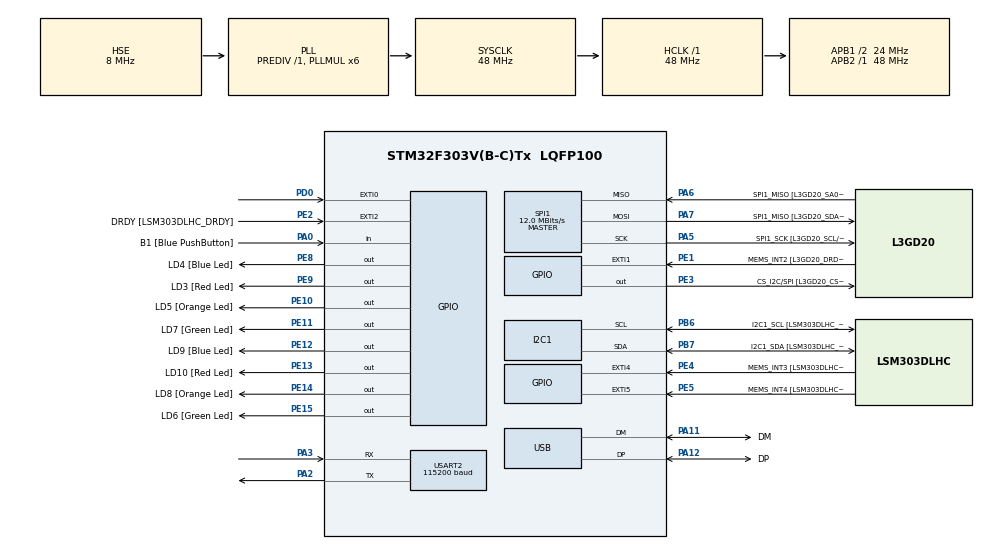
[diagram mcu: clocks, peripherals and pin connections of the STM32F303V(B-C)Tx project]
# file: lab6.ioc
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I2C1.Timing=0x00201D2B
I2C1.Timing-I2C=0x2000090E
Mcu.Family=STM32F3
Mcu.Name=STM32F303V(B-C)Tx
Mcu.Package=LQFP100
NVIC.PriorityGroup=NVIC_PRIORITYGROUP_0
NVIC.TIM2_IRQn=true\:0\:0\:false\:false\:true\:true\:true\:true
PA0.GPIO_Label=B1 [Blue PushButton]
PA0.Signal=GPIO_Input
PA11.GPIO_Label=DM
PA11.Mode=Device
PA11.Signal=USB_DM
PA12.GPIO_Label=DP
PA12.Mode=Device
PA12.Signal=USB_DP
PA13.GPIO_Label=SWDIO
PA13.Mode=Serial_Wire
PA13.Signal=SYS_JTMS-SWDIO
PA14.GPIO_Label=SWCLK
PA14.Mode=Serial_Wire
PA14.Signal=SYS_JTCK-SWCLK
PA2.Mode=Asynchronous
PA2.Signal=USART2_TX
PA3.Mode=Asynchronous
PA3.Signal=USART2_RX
PA5.GPIO_Label=SPI1_SCK [L3GD20_SCL/SPC]
PA5.Mode=Full_Duplex_Master
PA5.Signal=SPI1_SCK
PA6.GPIO_Label=SPI1_MISO [L3GD20_SA0/SDO]
PA6.Mode=Full_Duplex_Master
PA6.Signal=SPI1_MISO
PA7.GPIO_Label=SPI1_MISO [L3GD20_SDA/SDI/SDO]
PA7.Mode=Full_Duplex_Master
PA7.Signal=SPI1_MOSI
PB3.GPIO_Label=SWO
PB3.Signal=SYS_JTDO-TRACESWO
PB6.GPIO_Label=I2C1_SCL [LSM303DLHC_SCL]
PB6.GPIO_Pu=GPIO_PULLUP
PB6.Mode=I2C
PB6.Signal=I2C1_SCL
PB7.GPIO_Label=I2C1_SDA [LSM303DLHC_SDA]
PB7.GPIO_Pu=GPIO_PULLUP
PB7.Mode=I2C
PB7.Signal=I2C1_SDA
PC14-OSC32_IN.GPIO_Label=OSC32_IN
PC14-OSC32_IN.Signal=RCC_OSC32_IN
PC15-OSC32_OUT.GPIO_Label=OSC32_OUT
PC15-OSC32_OUT.Signal=RCC_OSC32_OUT
PD0.Signal=GPXTI0
PE1.GPIO_Label=MEMS_INT2 [L3GD20_DRDY/INT2]
PE1.GPIO_ModeDefaultEXTI=GPIO_MODE_EVT_RISING
PE1.Signal=GPXTI1
PE10.GPIO_Label=LD5 [Orange Led]
PE10.Signal=GPIO_Output
PE11.GPIO_Label=LD7 [Green Led]
PE11.Signal=GPIO_Output
PE12.GPIO_Label=LD9 [Blue Led]
PE12.Signal=GPIO_Output
PE13.GPIO_Label=LD10 [Red Led]
PE13.Signal=GPIO_Output
PE14.GPIO_Label=LD8 [Orange Led]
PE14.Signal=GPIO_Output
PE15.GPIO_Label=LD6 [Green Led]
PE15.Signal=GPIO_Output
PE2.GPIO_Label=DRDY [LSM303DLHC_DRDY]
PE2.GPIO_ModeDefaultEXTI=GPIO_MODE_EVT_RISING
PE2.Signal=GPXTI2
PE3.GPIO_Label=CS_I2C/SPI [L3GD20_CS_I2C/SPI]
PE3.Signal=GPIO_Output
PE4.GPIO_Label=MEMS_INT3 [LSM303DLHC_INT1]
PE4.GPIO_ModeDefaultEXTI=GPIO_MODE_EVT_RISING
PE4.Signal=GPXTI4
PE5.GPIO_Label=MEMS_INT4 [LSM303DLHC_INT2]
PE5.GPIO_ModeDefaultEXTI=GPIO_MODE_EVT_RISING
PE5.Signal=GPXTI5
PE8.GPIO_Label=LD4 [Blue Led]
PE8.Signal=GPIO_Output
PE9.GPIO_Label=LD3 [Red Led]
PE9.Signal=GPIO_Output
PF0-OSC_IN.GPIO_Label=OSC_IN
PF0-OSC_IN.Mode=HSE-External-Clock-Source
PF0-OSC_IN.Signal=RCC_OSC_IN
PF1-OSC_OUT.GPIO_Label=OSC_OUT
PF1-OSC_OUT.Signal=RCC_OSC_OUT
ProjectManager.HeapSize=0x200
ProjectManager.StackSize=0x400
ProjectManager.TargetToolchain=CMake
RCC.AHBFreq_Value=48000000
RCC.APB1CLKDivider=RCC_HCLK_DIV2
RCC.APB1Freq_Value=24000000
RCC.APB1TimFreq_Value=48000000
RCC.APB2Freq_Value=48000000
RCC.APB2TimFreq_Value=48000000
RCC.CortexFreq_Value=48000000
RCC.HCLKFreq_Value=48000000
RCC.HSE_VALUE=8000000
RCC.HSI_VALUE=8000000
RCC.LSE_VALUE=32768
RCC.PLLMUL=RCC_PLL_MUL6
RCC.SYSCLKFreq_VALUE=48000000
RCC.SYSCLKSourceVirtual=RCC_SYSCLKSOURCE_PLLCLK
RCC.USBFreq_Value=48000000
SPI1.BaudRatePrescaler=SPI_BAUDRATEPRESCALER_4
SPI1.BaudRatePrescaler-Full_Duplex_Master=SPI_BAUDRATEPRESCALER_2
SPI1.CalculateBaudRate=12.0 MBits/s
SPI1.CalculateBaudRate-Full_Duplex_Master=24.0 MBits/s
SPI1.Direction=SPI_DIRECTION_2LINES
SPI1.Mode=SPI_MODE_MASTER
SPI1.Mode-Full_Duplex_Master=SPI_MODE_MASTER
SPI1.VirtualType=VM_MASTER
TIM2.AutoReloadPreload=TIM_AUTORELOAD_PRELOAD_DISABLE
TIM2.Prescaler=9
TIM2.TIM_MasterOutputTrigger=TIM_TRGO_RESET
TIM2.TIM_MasterSlaveMode=TIM_MASTERSLAVEMODE_DISABLE
USART2.BaudRate=115200
USART2.VirtualMode-Asynchronous=VM_ASYNC
VP_TIM2_VS_ClockSourceINT.Mode=Internal
board=STM32F3DISCOVERY

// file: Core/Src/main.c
/* USER CODE BEGIN Header */
/**
  ******************************************************************************
  * @file           : main.c
  * @brief          : Main program body
  ******************************************************************************
  * @attention
  *
  * Copyright (c) 2026 STMicroelectronics.
  * All rights reserved.
  *
  * This software is licensed under terms that can be found in the LICENSE file
  * in the root directory of this software component.
  * If no LICENSE file comes with this software, it is provided AS-IS.
  *
  ******************************************************************************
  */
/* USER CODE END Header */
#include "main.h"
#include <stdarg.h>

I2C_HandleTypeDef hi2c1;

SPI_HandleTypeDef hspi1;

TIM_HandleTypeDef htim2;

UART_HandleTypeDef huart2;

PCD_HandleTypeDef hpcd_USB_FS;

void SystemClock_Config(void);
static void MX_GPIO_Init(void);
static void MX_I2C1_Init(void);
static void MX_SPI1_Init(void);
static void MX_TIM2_Init(void);
static void MX_USART2_UART_Init(void);
static void MX_USB_PCD_Init(void);

/* USER CODE BEGIN 0 */
#include <stdio.h>
void myPrintf (const char *fmt , ...){
      char buffer[256];
      va_list args;
      va_start (args, fmt);
      int len = vsnprintf (buffer, sizeof(buffer), fmt, args);
      va_end (args);
      HAL_UART_Transmit(&huart2, (uint8_t*)buffer, len, HAL_MAX_DELAY);
  }

#define SAMPLE_SIZE 10

volatile uint32_t period_samples[SAMPLE_SIZE];
volatile uint8_t sample_index = 0;
volatile uint8_t capture_state = 0;
volatile uint8_t print_flag = 0;

/* EXTI Callback */
void HAL_GPIO_EXTI_Callback(uint16_t GPIO_Pin)
{
    if(GPIO_Pin == GPIO_PIN_0)   // PD0
    {
        if(capture_state == 0)
        {
            __HAL_TIM_SET_COUNTER(&htim2, 0);
            HAL_TIM_Base_Start(&htim2);
            capture_state = 1;
        }
        else
        {
            period_samples[sample_index++] =
                __HAL_TIM_GET_COUNTER(&htim2);

            HAL_TIM_Base_Stop(&htim2);
            capture_state = 0;

            if(sample_index >= SAMPLE_SIZE)
            {
                sample_index = 0;
                print_flag = 1;
            }
        }
    }
}
/* USER CODE END 0 */

int main(void)
{

  /* MCU Configuration--------------------------------------------------------*/

  /* Reset of all peripherals, Initializes the Flash interface and the Systick. */
  HAL_Init();

  /* Configure the system clock */
  SystemClock_Config();

  /* Initialize all configured peripherals */
  MX_GPIO_Init();
  MX_I2C1_Init();
  MX_SPI1_Init();
  MX_TIM2_Init();
  MX_USART2_UART_Init();
  MX_USB_PCD_Init();
HAL_TIM_Base_Start(&htim2);  // Put this in main(), after MX_TIM2_Init()
  /* Infinite loop */
  /* USER CODE BEGIN WHILE */
  while (1)
{
    HAL_Delay(100);

    if(print_flag)
    {
        uint64_t sum = 0;

        for(int i = 0; i < SAMPLE_SIZE; i++)
        {
            sum += period_samples[i];
        }

        float avg_period = (float)sum / SAMPLE_SIZE;

        /*
         Timer frequency:
         48 MHz / (9+1) = 4.8 MHz
        */

        float frequency = (4.8e6) / avg_period;

        float error = (4.8e6 / (avg_period - 1)) - frequency;

        myPrintf("Frequency: %.2f Hz ± %.2f Hz\r\n",
               frequency, error);

        print_flag = 0;
    }
}

  /* USER CODE END 3 */
}

void SystemClock_Config(void)
{
  RCC_OscInitTypeDef RCC_OscInitStruct = {0};
  RCC_ClkInitTypeDef RCC_ClkInitStruct = {0};
  RCC_PeriphCLKInitTypeDef PeriphClkInit = {0};

  /** Initializes the RCC Oscillators according to the specified parameters
  * in the RCC_OscInitTypeDef structure.
  */
  RCC_OscInitStruct.OscillatorType = RCC_OSCILLATORTYPE_HSI|RCC_OSCILLATORTYPE_HSE;
  RCC_OscInitStruct.HSEState = RCC_HSE_BYPASS;
  RCC_OscInitStruct.HSEPredivValue = RCC_HSE_PREDIV_DIV1;
  RCC_OscInitStruct.HSIState = RCC_HSI_ON;
  RCC_OscInitStruct.HSICalibrationValue = RCC_HSICALIBRATION_DEFAULT;
  RCC_OscInitStruct.PLL.PLLState = RCC_PLL_ON;
  RCC_OscInitStruct.PLL.PLLSource = RCC_PLLSOURCE_HSE;
  RCC_OscInitStruct.PLL.PLLMUL = RCC_PLL_MUL6;
  if (HAL_RCC_OscConfig(&RCC_OscInitStruct) != HAL_OK)
  {
    Error_Handler();
  }

  /** Initializes the CPU, AHB and APB buses clocks
  */
  RCC_ClkInitStruct.ClockType = RCC_CLOCKTYPE_HCLK|RCC_CLOCKTYPE_SYSCLK
                              |RCC_CLOCKTYPE_PCLK1|RCC_CLOCKTYPE_PCLK2;
  RCC_ClkInitStruct.SYSCLKSource = RCC_SYSCLKSOURCE_PLLCLK;
  RCC_ClkInitStruct.AHBCLKDivider = RCC_SYSCLK_DIV1;
  RCC_ClkInitStruct.APB1CLKDivider = RCC_HCLK_DIV2;
  RCC_ClkInitStruct.APB2CLKDivider = RCC_HCLK_DIV1;

  if (HAL_RCC_ClockConfig(&RCC_ClkInitStruct, FLASH_LATENCY_1) != HAL_OK)
  {
    Error_Handler();
  }
  PeriphClkInit.PeriphClockSelection = RCC_PERIPHCLK_USB|RCC_PERIPHCLK_USART2
                              |RCC_PERIPHCLK_I2C1;
  PeriphClkInit.Usart2ClockSelection = RCC_USART2CLKSOURCE_PCLK1;
  PeriphClkInit.I2c1ClockSelection = RCC_I2C1CLKSOURCE_HSI;
  PeriphClkInit.USBClockSelection = RCC_USBCLKSOURCE_PLL;
  if (HAL_RCCEx_PeriphCLKConfig(&PeriphClkInit) != HAL_OK)
  {
    Error_Handler();
  }
}

static void MX_I2C1_Init(void)
{

  hi2c1.Instance = I2C1;
  hi2c1.Init.Timing = 0x00201D2B;
  hi2c1.Init.OwnAddress1 = 0;
  hi2c1.Init.AddressingMode = I2C_ADDRESSINGMODE_7BIT;
  hi2c1.Init.DualAddressMode = I2C_DUALADDRESS_DISABLE;
  hi2c1.Init.OwnAddress2 = 0;
  hi2c1.Init.OwnAddress2Masks = I2C_OA2_NOMASK;
  hi2c1.Init.GeneralCallMode = I2C_GENERALCALL_DISABLE;
  hi2c1.Init.NoStretchMode = I2C_NOSTRETCH_DISABLE;
  if (HAL_I2C_Init(&hi2c1) != HAL_OK)
  {
    Error_Handler();
  }

  /** Configure Analogue filter
  */
  if (HAL_I2CEx_ConfigAnalogFilter(&hi2c1, I2C_ANALOGFILTER_ENABLE) != HAL_OK)
  {
    Error_Handler();
  }

  /** Configure Digital filter
  */
  if (HAL_I2CEx_ConfigDigitalFilter(&hi2c1, 0) != HAL_OK)
  {
    Error_Handler();
  }

}

static void MX_SPI1_Init(void)
{

  /* SPI1 parameter configuration*/
  hspi1.Instance = SPI1;
  hspi1.Init.Mode = SPI_MODE_MASTER;
  hspi1.Init.Direction = SPI_DIRECTION_2LINES;
  hspi1.Init.DataSize = SPI_DATASIZE_4BIT;
  hspi1.Init.CLKPolarity = SPI_POLARITY_LOW;
  hspi1.Init.CLKPhase = SPI_PHASE_1EDGE;
  hspi1.Init.NSS = SPI_NSS_SOFT;
  hspi1.Init.BaudRatePrescaler = SPI_BAUDRATEPRESCALER_4;
  hspi1.Init.FirstBit = SPI_FIRSTBIT_MSB;
  hspi1.Init.TIMode = SPI_TIMODE_DISABLE;
  hspi1.Init.CRCCalculation = SPI_CRCCALCULATION_DISABLE;
  hspi1.Init.CRCPolynomial = 7;
  hspi1.Init.CRCLength = SPI_CRC_LENGTH_DATASIZE;
  hspi1.Init.NSSPMode = SPI_NSS_PULSE_ENABLE;
  if (HAL_SPI_Init(&hspi1) != HAL_OK)
  {
    Error_Handler();
  }

}

static void MX_TIM2_Init(void)
{

  TIM_ClockConfigTypeDef sClockSourceConfig = {0};
  TIM_MasterConfigTypeDef sMasterConfig = {0};

  htim2.Instance = TIM2;
  htim2.Init.Prescaler = 9;
  htim2.Init.CounterMode = TIM_COUNTERMODE_UP;
  htim2.Init.Period = 4294967295;
  htim2.Init.ClockDivision = TIM_CLOCKDIVISION_DIV1;
  htim2.Init.AutoReloadPreload = TIM_AUTORELOAD_PRELOAD_DISABLE;
  if (HAL_TIM_Base_Init(&htim2) != HAL_OK)
  {
    Error_Handler();
  }
  sClockSourceConfig.ClockSource = TIM_CLOCKSOURCE_INTERNAL;
  if (HAL_TIM_ConfigClockSource(&htim2, &sClockSourceConfig) != HAL_OK)
  {
    Error_Handler();
  }
  sMasterConfig.MasterOutputTrigger = TIM_TRGO_RESET;
  sMasterConfig.MasterSlaveMode = TIM_MASTERSLAVEMODE_DISABLE;
  if (HAL_TIMEx_MasterConfigSynchronization(&htim2, &sMasterConfig) != HAL_OK)
  {
    Error_Handler();
  }

}

static void MX_USART2_UART_Init(void)
{

  huart2.Instance = USART2;
  huart2.Init.BaudRate = 115200;
  huart2.Init.WordLength = UART_WORDLENGTH_8B;
  huart2.Init.StopBits = UART_STOPBITS_1;
  huart2.Init.Parity = UART_PARITY_NONE;
  huart2.Init.Mode = UART_MODE_TX_RX;
  huart2.Init.HwFlowCtl = UART_HWCONTROL_NONE;
  huart2.Init.OverSampling = UART_OVERSAMPLING_16;
  huart2.Init.OneBitSampling = UART_ONE_BIT_SAMPLE_DISABLE;
  huart2.AdvancedInit.AdvFeatureInit = UART_ADVFEATURE_NO_INIT;
  if (HAL_UART_Init(&huart2) != HAL_OK)
  {
    Error_Handler();
  }

}

static void MX_USB_PCD_Init(void)
{

  hpcd_USB_FS.Instance = USB;
  hpcd_USB_FS.Init.dev_endpoints = 8;
  hpcd_USB_FS.Init.speed = PCD_SPEED_FULL;
  hpcd_USB_FS.Init.phy_itface = PCD_PHY_EMBEDDED;
  hpcd_USB_FS.Init.low_power_enable = DISABLE;
  hpcd_USB_FS.Init.battery_charging_enable = DISABLE;
  if (HAL_PCD_Init(&hpcd_USB_FS) != HAL_OK)
  {
    Error_Handler();
  }

}

static void MX_GPIO_Init(void)
{
  GPIO_InitTypeDef GPIO_InitStruct = {0};

  __HAL_RCC_GPIOE_CLK_ENABLE();
  __HAL_RCC_GPIOC_CLK_ENABLE();
  __HAL_RCC_GPIOF_CLK_ENABLE();
  __HAL_RCC_GPIOA_CLK_ENABLE();
  __HAL_RCC_GPIOD_CLK_ENABLE();
  __HAL_RCC_GPIOB_CLK_ENABLE();

  HAL_GPIO_WritePin(GPIOE, CS_I2C_SPI_Pin|LD4_Pin|LD3_Pin|LD5_Pin
                          |LD7_Pin|LD9_Pin|LD10_Pin|LD8_Pin
                          |LD6_Pin, GPIO_PIN_RESET);

  GPIO_InitStruct.Pin = DRDY_Pin|MEMS_INT3_Pin|MEMS_INT4_Pin|MEMS_INT2_Pin;
  GPIO_InitStruct.Mode = GPIO_MODE_EVT_RISING;
  GPIO_InitStruct.Pull = GPIO_NOPULL;
  HAL_GPIO_Init(GPIOE, &GPIO_InitStruct);

  GPIO_InitStruct.Pin = CS_I2C_SPI_Pin|LD4_Pin|LD3_Pin|LD5_Pin
                          |LD7_Pin|LD9_Pin|LD10_Pin|LD8_Pin
                          |LD6_Pin;
  GPIO_InitStruct.Mode = GPIO_MODE_OUTPUT_PP;
  GPIO_InitStruct.Pull = GPIO_NOPULL;
  GPIO_InitStruct.Speed = GPIO_SPEED_FREQ_LOW;
  HAL_GPIO_Init(GPIOE, &GPIO_InitStruct);

  GPIO_InitStruct.Pin = B1_Pin;
  GPIO_InitStruct.Mode = GPIO_MODE_INPUT;
  GPIO_InitStruct.Pull = GPIO_NOPULL;
  HAL_GPIO_Init(B1_GPIO_Port, &GPIO_InitStruct);

  /* Configure PD0 as EXTI Rising Edge */
  GPIO_InitStruct.Pin = GPIO_PIN_0;
  GPIO_InitStruct.Mode = GPIO_MODE_IT_RISING;
  GPIO_InitStruct.Pull = GPIO_NOPULL;
  HAL_GPIO_Init(GPIOD, &GPIO_InitStruct);

  /* ---- IMPORTANT: Enable EXTI0 Interrupt in NVIC ---- */
  HAL_NVIC_SetPriority(EXTI0_IRQn, 0, 0);
  HAL_NVIC_EnableIRQ(EXTI0_IRQn);
}

void Error_Handler(void)
{
  __disable_irq();
  while (1)
  {
  }
}
void EXTI0_IRQHandler(void)
{
    HAL_GPIO_EXTI_IRQHandler(GPIO_PIN_0);
}
